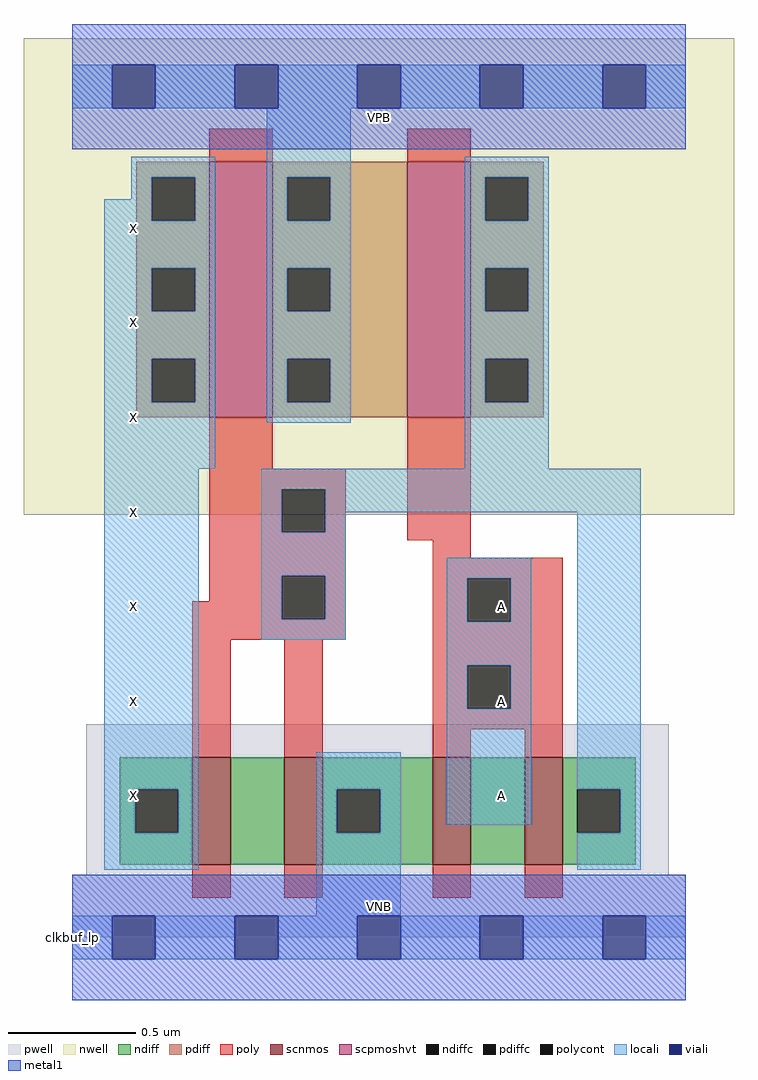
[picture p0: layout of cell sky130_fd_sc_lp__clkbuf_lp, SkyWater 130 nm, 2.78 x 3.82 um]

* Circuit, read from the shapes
.subckt sky130_fd_sc_lp__clkbuf_lp A VGND VNB VPB VPWR X
XM1 n1 n2 X VNB sky130_fd_pr__nfet_01v8 w=0.42 l=0.15
XM2 VGND n2 n1 VNB sky130_fd_pr__nfet_01v8 w=0.42 l=0.15
XM3 n3 A VGND VNB sky130_fd_pr__nfet_01v8 w=0.42 l=0.15
XM4 n2 A n3 VNB sky130_fd_pr__nfet_01v8 w=0.42 l=0.15
XM5 VPWR n2 X VPB sky130_fd_pr__pfet_01v8_hvt w=1 l=0.25
XM6 n2 A VPWR VPB sky130_fd_pr__pfet_01v8_hvt w=1 l=0.25
.ends

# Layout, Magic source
magic
tech sky130A
magscale 1 2
<< nwell >>
rect -38 331 518 704
<< pwell >>
rect 11 49 467 167
rect 0 0 480 49
<< scnmos >>
rect 94 57 124 141
rect 166 57 196 141
rect 282 57 312 141
rect 354 57 384 141
<< scpmoshvt >>
rect 107 407 157 607
rect 262 407 312 607
<< ndiff >>
rect 37 116 94 141
rect 37 82 49 116
rect 83 82 94 116
rect 37 57 94 82
rect 124 57 166 141
rect 196 116 282 141
rect 196 82 207 116
rect 241 82 282 116
rect 196 57 282 82
rect 312 57 354 141
rect 384 116 441 141
rect 384 82 395 116
rect 429 82 441 116
rect 384 57 441 82
<< pdiff >>
rect 50 595 107 607
rect 50 561 62 595
rect 96 561 107 595
rect 50 524 107 561
rect 50 490 62 524
rect 96 490 107 524
rect 50 453 107 490
rect 50 419 62 453
rect 96 419 107 453
rect 50 407 107 419
rect 157 595 262 607
rect 157 561 168 595
rect 202 561 262 595
rect 157 524 262 561
rect 157 490 168 524
rect 202 490 262 524
rect 157 453 262 490
rect 157 419 168 453
rect 202 419 262 453
rect 157 407 262 419
rect 312 595 369 607
rect 312 561 323 595
rect 357 561 369 595
rect 312 524 369 561
rect 312 490 323 524
rect 357 490 369 524
rect 312 453 369 490
rect 312 419 323 453
rect 357 419 369 453
rect 312 407 369 419
<< ndiffc >>
rect 49 82 83 116
rect 207 82 241 116
rect 395 82 429 116
<< pdiffc >>
rect 62 561 96 595
rect 62 490 96 524
rect 62 419 96 453
rect 168 561 202 595
rect 168 490 202 524
rect 168 419 202 453
rect 323 561 357 595
rect 323 490 357 524
rect 323 419 357 453
<< poly >>
rect 107 607 157 633
rect 262 607 312 633
rect 107 367 157 407
rect 107 351 214 367
rect 107 317 164 351
rect 198 317 214 351
rect 107 283 214 317
rect 262 311 312 407
rect 107 263 164 283
rect 94 249 164 263
rect 198 249 214 283
rect 94 233 214 249
rect 282 297 312 311
rect 282 281 384 297
rect 282 247 309 281
rect 343 247 384 281
rect 94 141 124 233
rect 166 141 196 233
rect 282 213 384 247
rect 282 179 309 213
rect 343 179 384 213
rect 282 163 384 179
rect 282 141 312 163
rect 354 141 384 163
rect 94 31 124 57
rect 166 31 196 57
rect 282 31 312 57
rect 354 31 384 57
<< polycont >>
rect 164 317 198 351
rect 164 249 198 283
rect 309 247 343 281
rect 309 179 343 213
<< locali >>
rect 0 649 31 683
rect 65 649 127 683
rect 161 649 223 683
rect 257 649 319 683
rect 353 649 415 683
rect 449 649 480 683
rect 46 595 112 611
rect 46 578 62 595
rect 25 561 62 578
rect 96 561 112 595
rect 25 524 112 561
rect 25 490 62 524
rect 96 490 112 524
rect 25 453 112 490
rect 25 419 62 453
rect 96 419 112 453
rect 25 367 112 419
rect 152 595 218 649
rect 152 561 168 595
rect 202 561 218 595
rect 152 524 218 561
rect 152 490 168 524
rect 202 490 218 524
rect 152 453 218 490
rect 152 419 168 453
rect 202 419 218 453
rect 152 403 218 419
rect 307 595 373 611
rect 307 561 323 595
rect 357 561 373 595
rect 307 524 373 561
rect 307 490 323 524
rect 357 490 373 524
rect 307 453 373 490
rect 307 419 323 453
rect 357 419 373 453
rect 307 367 373 419
rect 25 116 99 367
rect 148 351 445 367
rect 148 317 164 351
rect 198 333 445 351
rect 198 317 214 333
rect 148 283 214 317
rect 148 249 164 283
rect 198 249 214 283
rect 148 233 214 249
rect 293 281 359 297
rect 293 247 309 281
rect 343 247 359 281
rect 293 213 359 247
rect 293 179 309 213
rect 343 179 359 213
rect 25 82 49 116
rect 83 82 99 116
rect 25 53 99 82
rect 191 116 257 145
rect 191 82 207 116
rect 241 82 257 116
rect 293 88 359 179
rect 395 116 445 333
rect 191 17 257 82
rect 429 82 445 116
rect 395 53 445 82
rect 0 -17 31 17
rect 65 -17 127 17
rect 161 -17 223 17
rect 257 -17 319 17
rect 353 -17 415 17
rect 449 -17 480 17
<< viali >>
rect 31 649 65 683
rect 127 649 161 683
rect 223 649 257 683
rect 319 649 353 683
rect 415 649 449 683
rect 31 -17 65 17
rect 127 -17 161 17
rect 223 -17 257 17
rect 319 -17 353 17
rect 415 -17 449 17
<< metal1 >>
rect 0 683 480 715
rect 0 649 31 683
rect 65 649 127 683
rect 161 649 223 683
rect 257 649 319 683
rect 353 649 415 683
rect 449 649 480 683
rect 0 617 480 649
rect 0 17 480 49
rect 0 -17 31 17
rect 65 -17 127 17
rect 161 -17 223 17
rect 257 -17 319 17
rect 353 -17 415 17
rect 449 -17 480 17
rect 0 -49 480 -17
<< labels >>
flabel pwell s 0 0 480 49 0 FreeSans 200 0 0 0 VNB
port 3 nsew ground bidirectional
flabel nwell s 0 617 480 666 0 FreeSans 200 0 0 0 VPB
port 4 nsew power bidirectional
rlabel comment s 0 0 0 0 4 clkbuf_lp
flabel metal1 s 0 617 480 666 0 FreeSans 340 0 0 0 VPWR
port 5 nsew power bidirectional
flabel metal1 s 0 0 480 49 0 FreeSans 340 0 0 0 VGND
port 2 nsew ground bidirectional
flabel locali s 319 94 353 128 0 FreeSans 340 0 0 0 A
port 1 nsew signal input
flabel locali s 319 168 353 202 0 FreeSans 340 0 0 0 A
port 1 nsew signal input
flabel locali s 319 242 353 276 0 FreeSans 340 0 0 0 A
port 1 nsew signal input
flabel locali s 31 94 65 128 0 FreeSans 340 0 0 0 X
port 6 nsew signal output
flabel locali s 31 168 65 202 0 FreeSans 340 0 0 0 X
port 6 nsew signal output
flabel locali s 31 242 65 276 0 FreeSans 340 0 0 0 X
port 6 nsew signal output
flabel locali s 31 316 65 350 0 FreeSans 340 0 0 0 X
port 6 nsew signal output
flabel locali s 31 390 65 424 0 FreeSans 340 0 0 0 X
port 6 nsew signal output
flabel locali s 31 464 65 498 0 FreeSans 340 0 0 0 X
port 6 nsew signal output
flabel locali s 31 538 65 572 0 FreeSans 340 0 0 0 X
port 6 nsew signal output
<< properties >>
string LEFsite unit
string LEFclass CORE
string FIXED_BBOX 0 0 480 666
string GDS_FILE $PDKPATH/libs.ref/sky130_fd_sc_lp/gds/sky130_fd_sc_lp.gds
string LEFsymmetry X Y R90
string GDS_END 692454
string GDS_START 687354
<< end >>
